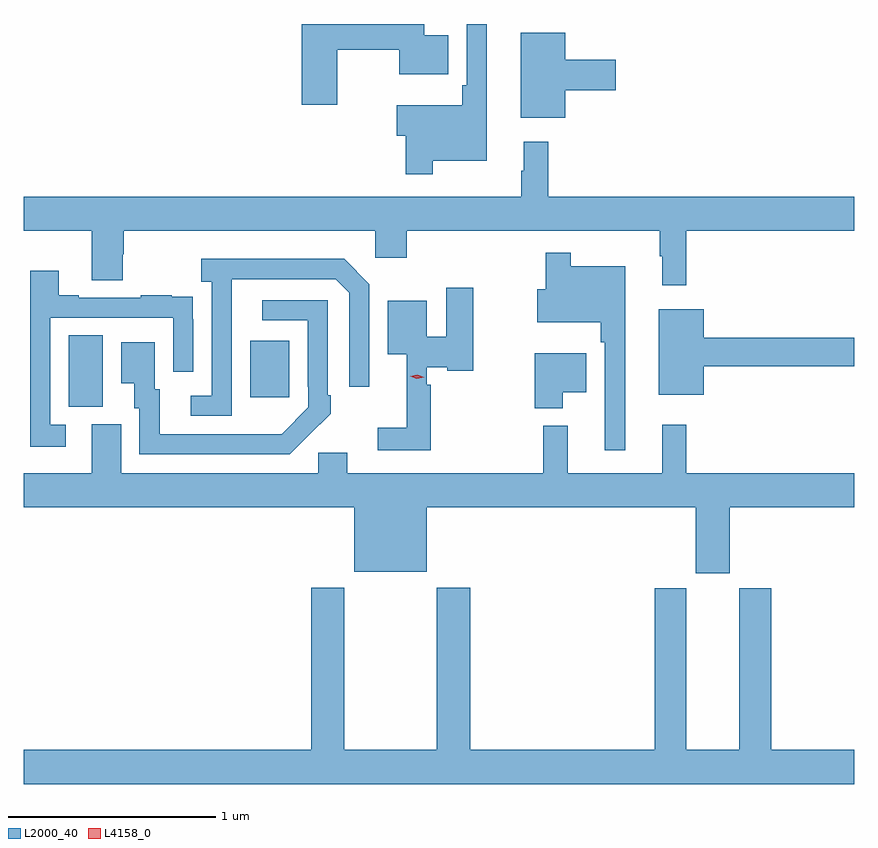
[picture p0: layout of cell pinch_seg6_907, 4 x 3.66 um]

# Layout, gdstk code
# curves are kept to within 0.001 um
import gdstk
lib = gdstk.Library(unit=1e-6, precision=1e-09)
def R(c, l, rs):  # rectangles x0, y0, x1, y1
    for r in rs: c.add(gdstk.rectangle(r[:2], r[2:], *l))
def P(c, l, *ps):  # polygons
    for p in ps: c.add(gdstk.Polygon(p, *l))
L2000_40 = (2000, 40)
L4158_0 = (4158, 0)

pinch_seg6_907 = lib.new_cell('pinch_seg6_907')
R(pinch_seg6_907, L2000_40, [(352.91,929.173,353.074,929.516), (353.783,929.217,353.971,929.491)])
P(pinch_seg6_907, L2000_40, [(354.202,930.892),(354.5,930.892),(354.5,930.773),(354.736,930.773),(354.736,930.961),(354.622,930.961),(354.622,931.015),(354.032,931.015),(354.032,930.627),(354.202,930.627)],
  [(354.661,930.356),(354.922,930.356),(354.922,931.015),(354.825,931.015),(354.825,930.721),(354.805,930.721),(354.805,930.625),(354.488,930.625),(354.488,930.478),(354.532,930.478),(354.532,930.291),(354.661,930.291)],
  [(355.3,930.695),(355.543,930.695),(355.543,930.842),(355.3,930.842),(355.3,930.973),(355.085,930.973),(355.085,930.563),(355.3,930.563)],
  [(355.883,930.02),(356.692,930.02),(356.692,930.184),(355.217,930.184),(355.217,930.448),(355.1,930.448),(355.1,930.308),(355.089,930.308),(355.089,930.184),(352.692,930.184),(352.692,930.02),(353.021,930.02),(353.021,929.782),(353.169,929.782),(353.169,929.907),(353.174,929.907),(353.174,930.02),(354.384,930.02),(354.384,929.889),(354.536,929.889),(354.536,930.02),(355.755,930.02),(355.755,929.897),(355.766,929.897),(355.766,929.757),(355.883,929.757)],
  [(355.588,929.848),(355.327,929.848),(355.327,929.914),(355.206,929.914),(355.206,929.737),(355.164,929.737),(355.164,929.579),(355.471,929.579),(355.471,929.483),(355.491,929.483),(355.491,928.962),(355.588,928.962)],
  [(353.694,929.587),(353.695,929.787),(354.195,929.787),(354.261,929.721),(354.261,929.268),(354.357,929.268),(354.357,929.763),(354.236,929.884),(353.547,929.884),(353.547,929.774),(353.598,929.774),(353.598,929.226),(353.496,929.226),(353.496,929.13),(353.694,929.13)],
  [(352.894,929.085),(352.821,929.085),(352.821,929.601),(353.412,929.601),(353.412,929.34),(353.508,929.34),(353.508,929.594),(353.507,929.594),(353.507,929.703),(353.405,929.703),(353.405,929.71),(353.257,929.71),(353.257,929.697),(352.957,929.697),(352.957,929.71),(352.861,929.71),(352.861,929.827),(352.724,929.827),(352.724,929.604),(352.725,929.604),(352.725,928.98),(352.894,928.98)],
  [(354.653,929.279),(354.633,929.279),(354.633,929.363),(354.732,929.363),(354.732,929.345),(354.858,929.345),(354.858,929.746),(354.728,929.746),(354.728,929.51),(354.634,929.51),(354.634,929.683),(354.446,929.683),(354.446,929.426),(354.536,929.426),(354.536,929.071),(354.396,929.071),(354.396,928.962),(354.653,928.962)],
  [(354.065,929.035),(354.066,929.034),(354.171,929.139),(354.171,929.227),(354.156,929.227),(354.156,929.685),(353.841,929.685),(353.841,929.589),(354.06,929.589),(354.06,929.269),(354.063,929.269),(354.063,929.169),(353.935,929.041),(353.347,929.04),(353.347,929.256),(353.323,929.256),(353.323,929.482),(353.162,929.482),(353.162,929.285),(353.225,929.285),(353.225,929.166),(353.25,929.166),(353.25,928.944),(353.974,928.944)],
  [(355.966,929.368),(356.692,929.368),(356.692,929.504),(355.966,929.504),(355.966,929.641),(355.751,929.641),(355.751,929.231),(355.966,929.231)],
  [(355.288,929.243),(355.402,929.243),(355.402,929.431),(355.154,929.431),(355.154,929.165),(355.288,929.165)],
  [(353.021,929.088),(353.021,928.852),(352.692,928.852),(352.692,928.688),(354.284,928.688),(354.284,928.379),(354.634,928.379),(354.634,928.688),(355.928,928.688),(355.928,928.371),(356.092,928.371),(356.092,928.688),(356.692,928.688),(356.692,928.852),(355.883,928.852),(355.883,929.086),(355.766,929.086),(355.766,928.852),(355.313,928.852),(355.313,929.08),(355.195,929.08),(355.195,928.852),(354.25,928.852),(354.25,928.95),(354.111,928.95),(354.111,928.852),(353.161,928.852),(353.161,929.088)],
  [(356.692,927.52),(356.291,927.52),(356.291,928.299),(356.138,928.299),(356.138,927.52),(355.882,927.52),(355.882,928.299),(355.73,928.299),(355.73,927.52),(354.842,927.52),(354.842,928.3),(354.682,928.3),(354.682,927.52),(354.237,927.52),(354.237,928.3),(354.077,928.3),(354.077,927.52),(352.692,927.52),(352.692,927.356),(356.692,927.356)])
P(pinch_seg6_907, L4158_0, [(354.586,929.307),(354.553,929.32),(354.552,929.32),(354.553,929.32),(354.588,929.327),(354.621,929.315),(354.621,929.315),(354.621,929.314)])

lib.write_gds('pinch_seg6_907.gds')
